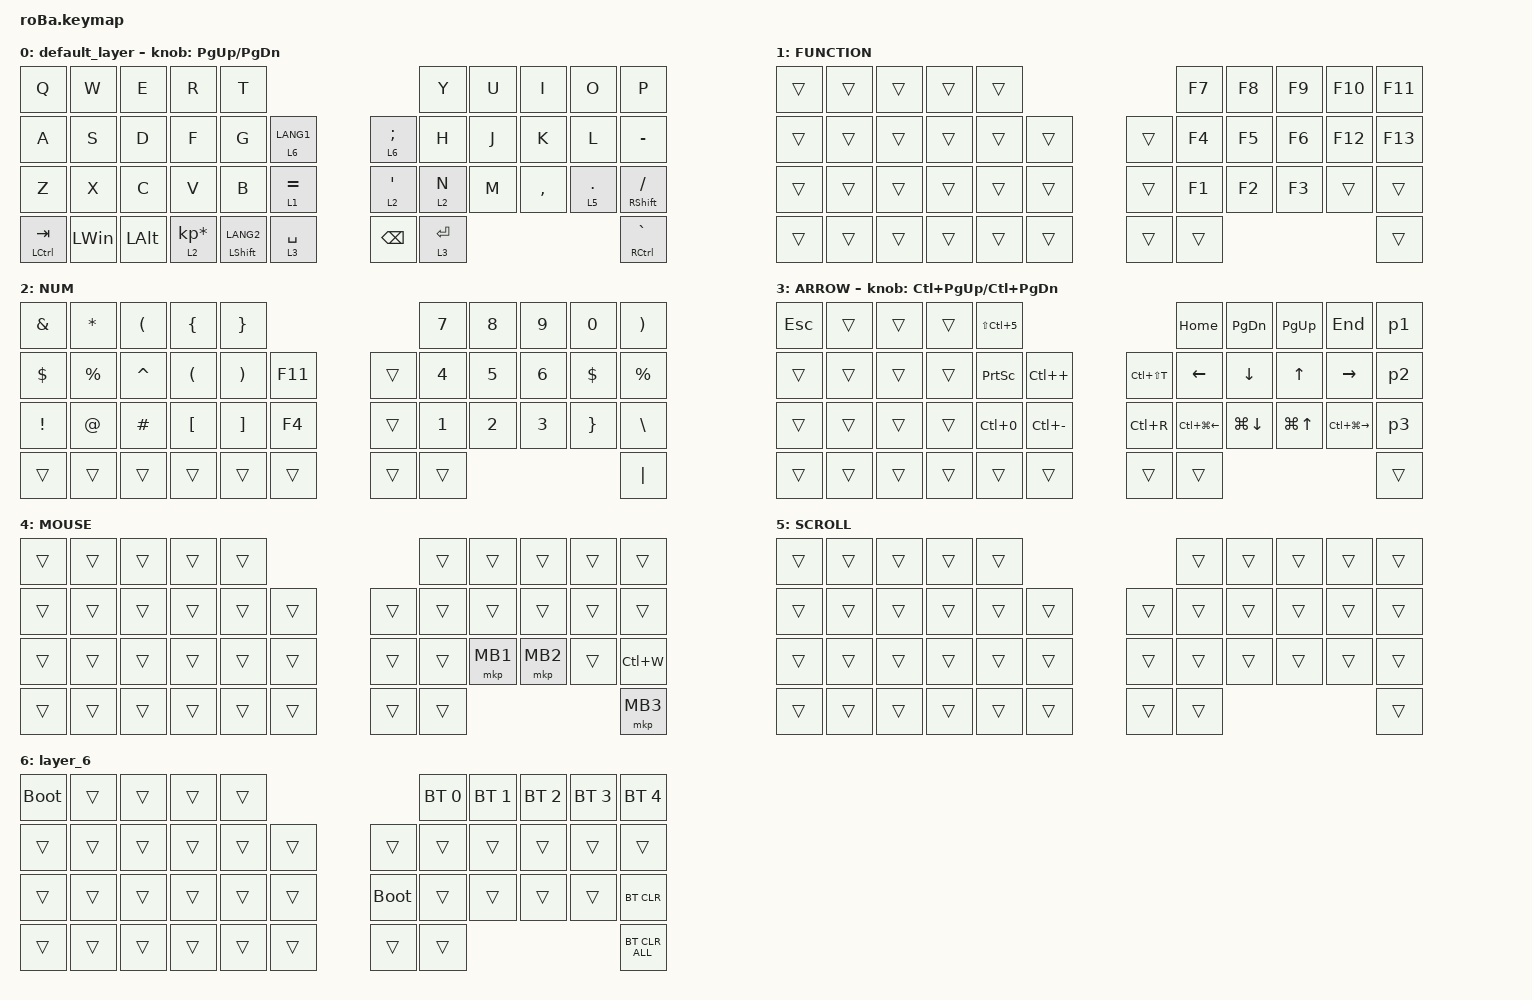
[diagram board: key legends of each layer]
#include <behaviors.dtsi>
#include <dt-bindings/zmk/bt.h>
#include <dt-bindings/zmk/keys.h>
#include <dt-bindings/zmk/pointing.h>

#define MOUSE 4
#define SCROLL 5
#define NUM 6

&mt {
    flavor = "balanced";
    quick-tap-ms = <0>;
};

/ {
    combos { compatible = "zmk,combos"; };

    macros {
        to_layer_0: to_layer_0 {
            compatible = "zmk,behavior-macro-one-param";
            #binding-cells = <1>;
            bindings = <&to 0 &macro_param_1to1 &kp MACRO_PLACEHOLDER>;
            label = "TO_LAYER_0";
        };

        p1: p1 {
            compatible = "zmk,behavior-macro";
            #binding-cells = <0>;
            bindings = <&kp A &kp B &kp S &kp N &kp A &kp I &kp T &kp O>;
            label = "P1";
        };

        p2: p2 {
            compatible = "zmk,behavior-macro";
            #binding-cells = <0>;
            bindings = <&kp H &kp I &kp N &kp A &kp S &kp T &kp O &kp R &kp Y &kp NUMBER_1 &kp N9 &kp N7 &kp N9>;
            label = "P2";
        };

        p3: p3 {
            compatible = "zmk,behavior-macro";
            #binding-cells = <0>;
            bindings = <&kp A &kp B &kp S &kp H &kp I &kp N &kp A &kp S &kp T &kp O &kp R &kp Y>;
            label = "P3";
        };
    };

    behaviors {
        lt_to_layer_0: lt_to_layer_0 {
            compatible = "zmk,behavior-hold-tap";
            label = "LAYER_TAP_TO_0";
            bindings = <&mo>, <&to_layer_0>;

            #binding-cells = <2>;
            tapping-term-ms = <200>;
        };
    };

    keymap {
        compatible = "zmk,keymap";

        default_layer {
            bindings = <
&kp Q          &kp W         &kp E         &kp R                         &kp T                                                            &kp Y        &kp U  &kp I      &kp O         &kp P
&kp A          &kp S         &kp D         &kp F                         &kp G                 &lt 6 LANG1                 &lt 6 SEMI     &kp H        &kp J  &kp K      &kp L         &kp MINUS
&kp Z          &kp X         &kp C         &kp V                         &kp B                 &lt 1 EQUAL                 &lt 2 SQT      &lt 2 N      &kp M  &kp COMMA  &lt 5 PERIOD  &mt RIGHT_SHIFT SLASH
&mt LCTRL TAB  &kp LEFT_WIN  &kp LEFT_ALT  &lt_to_layer_0 2 KP_ASTERISK  &mt LEFT_SHIFT LANG2  &lt_to_layer_0 3 SPACE      &kp BACKSPACE  &lt 3 ENTER                                  &mt RIGHT_CONTROL GRAVE
            >;

            sensor-bindings = <&inc_dec_kp PG_UP PAGE_DOWN>;
        };

        FUNCTION {
            bindings = <
&trans  &trans  &trans  &trans  &trans                      &kp F7  &kp F8  &kp F9  &kp F10  &kp F11
&trans  &trans  &trans  &trans  &trans  &trans      &trans  &kp F4  &kp F5  &kp F6  &kp F12  &kp F13
&trans  &trans  &trans  &trans  &trans  &trans      &trans  &kp F1  &kp F2  &kp F3  &trans   &trans
&trans  &trans  &trans  &trans  &trans  &trans      &trans  &trans                           &trans
            >;
        };

        NUM {
            bindings = <
&kp AMPERSAND    &kp ASTERISK  &kp LEFT_PARENTHESIS  &kp LEFT_BRACE        &kp RIGHT_BRACE                             &kp N7        &kp N8        &kp N9        &kp N0           &kp RIGHT_PARENTHESIS
&kp DOLLAR       &kp PERCENT   &kp CARET             &kp LEFT_PARENTHESIS  &kp RIGHT_PARENTHESIS  &kp F11      &trans  &kp NUMBER_4  &kp N5        &kp NUMBER_6  &kp DOLLAR       &kp PERCENT
&kp EXCLAMATION  &kp AT_SIGN   &kp HASH              &kp LEFT_BRACKET      &kp RIGHT_BRACKET      &kp F4       &trans  &kp NUMBER_1  &kp NUMBER_2  &kp NUMBER_3  &kp RIGHT_BRACE  &kp BACKSLASH
&trans           &trans        &trans                &trans                &trans                 &trans       &trans  &trans                                                     &kp PIPE
            >;
        };

        ARROW {
            bindings = <
&kp ESCAPE  &trans  &trans  &trans  &kp LS(LC(N5))                                      &kp HOME          &kp PAGE_DOWN       &kp PAGE_UP       &kp END                  &p1
&trans      &trans  &trans  &trans  &kp PRINTSCREEN   &kp LC(PLUS)       &kp LC(LS(T))  &kp LEFT_ARROW    &kp DOWN_ARROW      &kp UP_ARROW      &kp RIGHT_ARROW          &p2
&trans      &trans  &trans  &trans  &kp LC(NUMBER_0)  &kp LC(MINUS)      &kp LC(R)      &kp LC(LG(LEFT))  &kp LG(DOWN_ARROW)  &kp LG(UP_ARROW)  &kp LC(LG(RIGHT_ARROW))  &p3
&trans      &trans  &trans  &trans  &trans            &trans             &trans         &trans                                                                           &trans
            >;

            sensor-bindings = <&inc_dec_kp LC(PAGE_UP) LC(PAGE_DOWN)>;
        };

        MOUSE {
            bindings = <
&trans  &trans  &trans  &trans  &trans                      &trans  &trans    &trans    &trans  &trans
&trans  &trans  &trans  &trans  &trans  &trans      &trans  &trans  &trans    &trans    &trans  &trans
&trans  &trans  &trans  &trans  &trans  &trans      &trans  &trans  &mkp MB1  &mkp MB2  &trans  &kp LC(W)
&trans  &trans  &trans  &trans  &trans  &trans      &trans  &trans                              &mkp MB3
            >;
        };

        SCROLL {
            bindings = <
&trans  &trans  &trans  &trans  &trans                      &trans  &trans  &trans  &trans  &trans
&trans  &trans  &trans  &trans  &trans  &trans      &trans  &trans  &trans  &trans  &trans  &trans
&trans  &trans  &trans  &trans  &trans  &trans      &trans  &trans  &trans  &trans  &trans  &trans
&trans  &trans  &trans  &trans  &trans  &trans      &trans  &trans                          &trans
            >;
        };

        layer_6 {
            bindings = <
&bootloader  &trans  &trans  &trans  &trans                           &bt BT_SEL 0  &bt BT_SEL 1  &bt BT_SEL 2  &bt BT_SEL 3  &bt BT_SEL 4
&trans       &trans  &trans  &trans  &trans  &trans      &trans       &trans        &trans        &trans        &trans        &trans
&trans       &trans  &trans  &trans  &trans  &trans      &bootloader  &trans        &trans        &trans        &trans        &bt BT_CLR
&trans       &trans  &trans  &trans  &trans  &trans      &trans       &trans                                                  &bt BT_CLR_ALL
            >;
        };
    };
};
